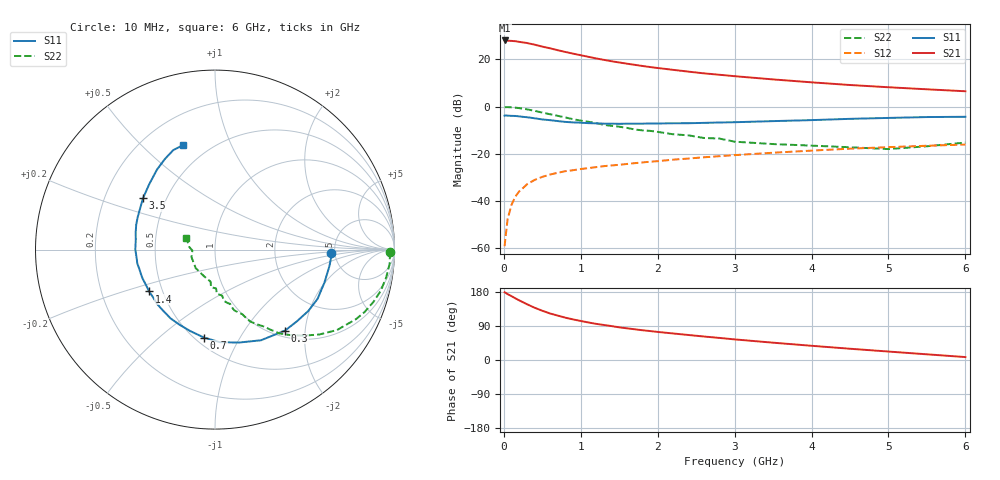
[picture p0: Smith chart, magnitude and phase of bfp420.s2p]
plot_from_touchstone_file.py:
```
#
# Plot the response of a BFP420 Transistor
# uses the Touchstone file provided by Infineon
# S.F. Peik 2021
#


import mwave as mw
from numpy import *

f, S = mw.load_touchstone("bfp420.s2p")
fig, ax = mw.plotspar(f, S)
ax.set_ylim(-30, 30)
fig.show()

# Adding a Series Capacitor in the input
C1 = 1e-12
ABCD1 = ABCD4 = mw.ABCDseries(1/(1j * 2*pi*f * C1))  # add a series inductor
ABCD2 = mw.StoABCD(S, 50.0)
ABCD = mw.cascade([ABCD1, ABCD2])  # Cascade the five networks
Snew = mw.ABCDtoS(ABCD)
fig, ax = mw.plotspar(f, Snew)
ax.set_title("BFP420 with series Cap in Input line")
ax.set_ylim(-30, 30)
fig.show()
```
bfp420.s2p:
! SIEMENS Discrete & RF Semiconductors
! BFP420
! Si NPN RF SIEGET Grounded Emitter Transistor in SOT343
! VCE = 2 V  IC = 10 mA
! Common Emitter S-Parameters:  February  1998
# GHz  S  MA  R  50
!  f  S11  S21  S12  S22
! GHz  MAG  ANG  MAG  ANG  MAG  ANG  MAG  ANG
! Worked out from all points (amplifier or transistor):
!   36 points, 10 MHz to 6 GHz, reference 50 ohm
!   highest |S21| = 28.1 dB at 10 MHz (marker M1)
!   |S21| within 3 dB of that: start of sweep to 554.6 MHz
!   unconditionally stable (mu >= 1): 2.526 GHz to end of sweep
!   at 250 MHz: K = 0.17, MSG = 30.9 dB, |S12| = -34.5 dB
!   at 1.4 GHz: K = 0.75, MSG = 22.1 dB, |S12| = -24.9 dB
!   at 6 GHz: K = 1.14, MAG = 9.1 dB, |S12| = -16.1 dB
!   lowest NFmin = 1.05 dB at 450 MHz
!   S11 on the Smith chart (normalised r, x): 10 MHz: 4.60, -0.32; 300 MHz: 1.12, -1.57; 700 MHz: 0.55, -0.72; 1.4 GHz: 0.42, -0.24; 3.5 GHz: 0.37, +0.28; 6 GHz: 0.36, +0.68
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0.01  0.6441 -1.8  25.29 178.6  0.0011 88.8  0.9771 -0.8
0.15  0.6339 -25.7  24.39 162.7  0.0124 77.4  0.952 -13.9
0.3  0.5965 -49.1  22.36 147.3  0.0225 69.6  0.8765 -26.2
0.4  0.5665 -63.1  20.59 137.9  0.0279 64.3  0.8141 -33.4
0.5  0.5347 -75.6  18.73 130.0  0.0324 60.5  0.7485 -39.2
0.7  0.494 -97.1  15.72 117.2  0.0396 54.5  0.6391 -48.3
1  0.4563 -122.9  12.3 103.0  0.0475 49.7  0.5052 -57.8
1.4  0.4348 -147.6  9.172 89.5  0.0566 47.5  0.3905 -67.1
2.4  0.4446 173.1  5.52 66.0  0.0793 44.0  0.2462 -87.5
3.5  0.4929 144.5  3.776 45.7  0.1054 36.8  0.1608 -112.1
6  0.609 106.9  2.118 7.7  0.1571 16.8  0.1729 157.6
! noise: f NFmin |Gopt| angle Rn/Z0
0.45  1.05  0.03  34  0.17
0.9  1.08  0.01  25  0.13
1.8  1.19  0.09  -160  0.12
2.4  1.29  0.11  -179  0.13
3  1.39  0.19  -152  0.14
4  1.51  0.34  -127  0.16
